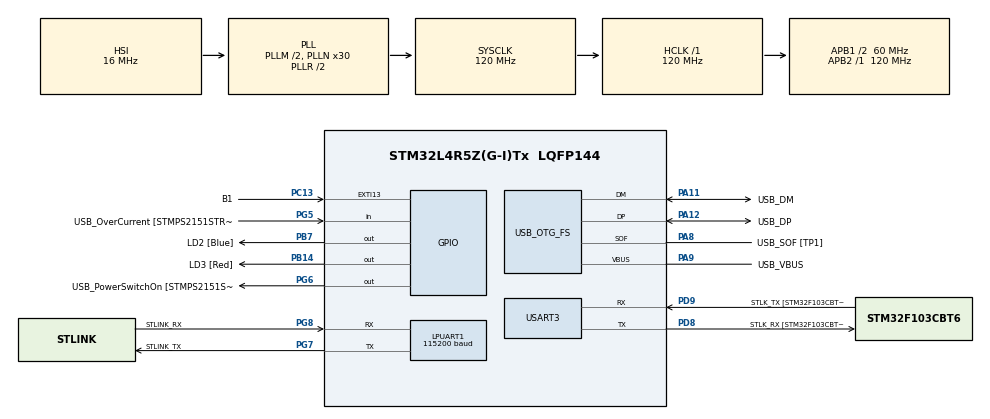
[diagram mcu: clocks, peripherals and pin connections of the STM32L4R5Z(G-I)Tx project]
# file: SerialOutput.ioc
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Dma.LPUART1_RX.0.Direction=DMA_PERIPH_TO_MEMORY
Dma.LPUART1_RX.0.EventEnable=DISABLE
Dma.LPUART1_RX.0.Instance=DMA1_Channel1
Dma.LPUART1_RX.0.MemDataAlignment=DMA_MDATAALIGN_BYTE
Dma.LPUART1_RX.0.MemInc=DMA_MINC_ENABLE
Dma.LPUART1_RX.0.Mode=DMA_NORMAL
Dma.LPUART1_RX.0.PeriphDataAlignment=DMA_PDATAALIGN_BYTE
Dma.LPUART1_RX.0.PeriphInc=DMA_PINC_DISABLE
Dma.LPUART1_RX.0.Polarity=HAL_DMAMUX_REQUEST_GEN_RISING
Dma.LPUART1_RX.0.Priority=DMA_PRIORITY_LOW
Dma.LPUART1_RX.0.RequestNumber=1
Dma.LPUART1_RX.0.SignalID=NONE
Dma.LPUART1_RX.0.SyncEnable=DISABLE
Dma.LPUART1_RX.0.SyncPolarity=HAL_DMAMUX_SYNC_NO_EVENT
Dma.LPUART1_RX.0.SyncRequestNumber=1
Dma.LPUART1_RX.0.SyncSignalID=NONE
Dma.Request0=LPUART1_RX
LPUART1.BaudRate=115200
LPUART1.WordLength=UART_WORDLENGTH_8B
Mcu.Family=STM32L4
Mcu.Name=STM32L4R5Z(G-I)Tx
Mcu.Package=LQFP144
NVIC.DMA1_Channel1_IRQn=true\:0\:0\:false\:false\:true\:false\:true\:true
NVIC.PriorityGroup=NVIC_PRIORITYGROUP_4
PA10.GPIO_Label=USB_ID
PA10.Signal=USB_OTG_FS_ID
PA11.GPIO_Label=USB_DM
PA11.Mode=Device_Only
PA11.Signal=USB_OTG_FS_DM
PA12.GPIO_Label=USB_DP
PA12.Mode=Device_Only
PA12.Signal=USB_OTG_FS_DP
PA13\ (JTMS/SWDIO).GPIO_Label=TMS
PA13\ (JTMS/SWDIO).Mode=Trace_Asynchronous_SW
PA13\ (JTMS/SWDIO).Signal=SYS_JTMS-SWDIO
PA14\ (JTCK/SWCLK).GPIO_Label=TCK
PA14\ (JTCK/SWCLK).Mode=Trace_Asynchronous_SW
PA14\ (JTCK/SWCLK).Signal=SYS_JTCK-SWCLK
PA8.GPIO_Label=USB_SOF [TP1]
PA8.Mode=Activate_SOF_FS
PA8.Signal=USB_OTG_FS_SOF
PA9.GPIO_Label=USB_VBUS
PA9.Mode=Activate_VBUS
PA9.Signal=USB_OTG_FS_VBUS
PB14.GPIO_Label=LD3 [Red]
PB14.Signal=GPIO_Output
PB3\ (JTDO/TRACESWO).GPIO_Label=SWO
PB3\ (JTDO/TRACESWO).Mode=Trace_Asynchronous_SW
PB3\ (JTDO/TRACESWO).Signal=SYS_JTDO-SWO
PB7.GPIO_Label=LD2 [Blue]
PB7.Signal=GPIO_Output
PC13.GPIO_Label=B1
PC13.Signal=GPXTI13
PC14-OSC32_IN\ (PC14).Mode=LSE-External-Oscillator
PC14-OSC32_IN\ (PC14).Signal=RCC_OSC32_IN
PC15-OSC32_OUT\ (PC15).Mode=LSE-External-Oscillator
PC15-OSC32_OUT\ (PC15).Signal=RCC_OSC32_OUT
PD8.GPIO_Label=STLK_RX [STM32F103CBT6_PA3]
PD8.Mode=Asynchronous
PD8.Signal=USART3_TX
PD9.GPIO_Label=STLK_TX [STM32F103CBT6_PA2]
PD9.Mode=Asynchronous
PD9.Signal=USART3_RX
PG5.GPIO_Label=USB_OverCurrent [STMPS2151STR_FAULT]
PG5.Signal=GPIO_Input
PG6.GPIO_Label=USB_PowerSwitchOn [STMPS2151STR_EN]
PG6.Signal=GPIO_Output
PG7.GPIO_Label=STLINK_TX
PG7.Mode=Asynchronous
PG7.Signal=LPUART1_TX
PG8.GPIO_Label=STLINK_RX
PG8.Mode=Asynchronous
PG8.Signal=LPUART1_RX
PH0-OSC_IN\ (PH0).Signal=RCC_OSC_IN
PH1-OSC_OUT\ (PH1).Signal=RCC_OSC_OUT
ProjectManager.HeapSize=0x200
ProjectManager.StackSize=0x400
ProjectManager.TargetToolchain=STM32CubeIDE
RCC.48MHZClocksFreq_Value=24000000
RCC.ADCFreq_Value=96000000
RCC.AHBFreq_Value=120000000
RCC.APB1CLKDivider=RCC_HCLK_DIV2
RCC.APB1Freq_Value=60000000
RCC.APB1TimFreq_Value=120000000
RCC.APB2Freq_Value=120000000
RCC.APB2TimFreq_Value=120000000
RCC.CK48CLockSelection=RCC_USBCLKSOURCE_HSI48
RCC.CortexFreq_Value=120000000
RCC.HCLKFreq_Value=120000000
RCC.HSE_VALUE=8000000
RCC.HSI48_VALUE=48000000
RCC.HSI_VALUE=16000000
RCC.MSI_VALUE=4000000
RCC.PLLM1=2
RCC.PLLMUL=RCC_PLL_MUL9
RCC.PLLN=30
RCC.PLLSAI1N=12
RCC.PLLSourceVirtual=RCC_PLLSOURCE_HSI
RCC.PRESCALERUSB=RCC_USBCLKSOURCE_PLL_DIV1_5
RCC.SYSCLKFreq_VALUE=120000000
RCC.SYSCLKSource=RCC_SYSCLKSOURCE_PLLCLK
RCC.SYSCLKSourceVirtual=RCC_SYSCLKSOURCE_PLLCLK
RCC.USBFreq_Value=48000000
RCC.VCOOutputFreq_Value=240000000
USART3.VirtualMode-Asynchronous=VM_ASYNC
USB_OTG_FS.VirtualMode=Device_Only
board=NUCLEO-L4R5ZI

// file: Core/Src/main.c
/* USER CODE BEGIN Header */
/**
  ******************************************************************************
  * @file           : main.c
  * @brief          : Main program body
  ******************************************************************************
  * @attention
  *
  * Copyright (c) 2023 STMicroelectronics.
  * All rights reserved.
  *
  * This software is licensed under terms that can be found in the LICENSE file
  * in the root directory of this software component.
  * If no LICENSE file comes with this software, it is provided AS-IS.
  *
  ******************************************************************************
  */
/* USER CODE END Header */
#include "main.h"

/* USER CODE BEGIN Includes */
#include <stdio.h>

/* USER CODE END Includes */

UART_HandleTypeDef hlpuart1;
UART_HandleTypeDef huart3;

PCD_HandleTypeDef hpcd_USB_OTG_FS;

void SystemClock_Config(void);
static void MX_GPIO_Init(void);
static void MX_LPUART1_UART_Init(void);
static void MX_USART3_UART_Init(void);
static void MX_USB_OTG_FS_PCD_Init(void);
/* USER CODE BEGIN PFP */
#ifdef __GNUC__
#define PUTCHAR_PROTOTYPE int __io_putchar(int ch)
#else
#define PUTCHAR_PROTOTYPE int fputc(int ch, FILE *f)
#endif

PUTCHAR_PROTOTYPE
{
  HAL_UART_Transmit(&hlpuart1, (uint8_t *)&ch, 1, HAL_MAX_DELAY);
  return ch;
}

/* USER CODE END PFP */

/* USER CODE BEGIN 0 */

// Initialise byte array
uint8_t uartBuffer[12] = {0};

/* USER CODE END 0 */

int main(void)
{

  /* MCU Configuration--------------------------------------------------------*/

  /* Reset of all peripherals, Initializes the Flash interface and the Systick. */
  HAL_Init();

  /* Configure the system clock */
  SystemClock_Config();

  /* Initialize all configured peripherals */
  MX_GPIO_Init();
  MX_LPUART1_UART_Init();
  MX_USART3_UART_Init();
  MX_USB_OTG_FS_PCD_Init();

  /* Infinite loop */
  while (1)
  {

    /* USER CODE BEGIN 3 */

	  // Using HAL to output directly
	  char data[] = "Hello World!!!\r\n";
	  HAL_UART_Transmit(&hlpuart1, data, sizeof(data), 100);
	  HAL_Delay(1000);

	  // Using printf to output (preferred)
	  const char* name = "Jack";
	  printf("Your name is: %s\r\n", name);

  }
  /* USER CODE END 3 */
}

void SystemClock_Config(void)
{
  RCC_OscInitTypeDef RCC_OscInitStruct = {0};
  RCC_ClkInitTypeDef RCC_ClkInitStruct = {0};

  /** Configure the main internal regulator output voltage
  */
  if (HAL_PWREx_ControlVoltageScaling(PWR_REGULATOR_VOLTAGE_SCALE1_BOOST) != HAL_OK)
  {
    Error_Handler();
  }

  /** Initializes the RCC Oscillators according to the specified parameters
  * in the RCC_OscInitTypeDef structure.
  */
  RCC_OscInitStruct.OscillatorType = RCC_OSCILLATORTYPE_HSI48|RCC_OSCILLATORTYPE_HSI;
  RCC_OscInitStruct.HSIState = RCC_HSI_ON;
  RCC_OscInitStruct.HSI48State = RCC_HSI48_ON;
  RCC_OscInitStruct.HSICalibrationValue = RCC_HSICALIBRATION_DEFAULT;
  RCC_OscInitStruct.PLL.PLLState = RCC_PLL_ON;
  RCC_OscInitStruct.PLL.PLLSource = RCC_PLLSOURCE_HSI;
  RCC_OscInitStruct.PLL.PLLM = 2;
  RCC_OscInitStruct.PLL.PLLN = 30;
  RCC_OscInitStruct.PLL.PLLP = RCC_PLLP_DIV2;
  RCC_OscInitStruct.PLL.PLLQ = RCC_PLLQ_DIV2;
  RCC_OscInitStruct.PLL.PLLR = RCC_PLLR_DIV2;
  if (HAL_RCC_OscConfig(&RCC_OscInitStruct) != HAL_OK)
  {
    Error_Handler();
  }

  /** Initializes the CPU, AHB and APB buses clocks
  */
  RCC_ClkInitStruct.ClockType = RCC_CLOCKTYPE_HCLK|RCC_CLOCKTYPE_SYSCLK
                              |RCC_CLOCKTYPE_PCLK1|RCC_CLOCKTYPE_PCLK2;
  RCC_ClkInitStruct.SYSCLKSource = RCC_SYSCLKSOURCE_PLLCLK;
  RCC_ClkInitStruct.AHBCLKDivider = RCC_SYSCLK_DIV1;
  RCC_ClkInitStruct.APB1CLKDivider = RCC_HCLK_DIV2;
  RCC_ClkInitStruct.APB2CLKDivider = RCC_HCLK_DIV1;

  if (HAL_RCC_ClockConfig(&RCC_ClkInitStruct, FLASH_LATENCY_5) != HAL_OK)
  {
    Error_Handler();
  }
}

static void MX_LPUART1_UART_Init(void)
{

  hlpuart1.Instance = LPUART1;
  hlpuart1.Init.BaudRate = 115200;
  hlpuart1.Init.WordLength = UART_WORDLENGTH_8B;
  hlpuart1.Init.StopBits = UART_STOPBITS_1;
  hlpuart1.Init.Parity = UART_PARITY_NONE;
  hlpuart1.Init.Mode = UART_MODE_TX_RX;
  hlpuart1.Init.HwFlowCtl = UART_HWCONTROL_NONE;
  hlpuart1.Init.OneBitSampling = UART_ONE_BIT_SAMPLE_DISABLE;
  hlpuart1.Init.ClockPrescaler = UART_PRESCALER_DIV1;
  hlpuart1.AdvancedInit.AdvFeatureInit = UART_ADVFEATURE_NO_INIT;
  hlpuart1.FifoMode = UART_FIFOMODE_DISABLE;
  if (HAL_UART_Init(&hlpuart1) != HAL_OK)
  {
    Error_Handler();
  }
  if (HAL_UARTEx_SetTxFifoThreshold(&hlpuart1, UART_TXFIFO_THRESHOLD_1_8) != HAL_OK)
  {
    Error_Handler();
  }
  if (HAL_UARTEx_SetRxFifoThreshold(&hlpuart1, UART_RXFIFO_THRESHOLD_1_8) != HAL_OK)
  {
    Error_Handler();
  }
  if (HAL_UARTEx_DisableFifoMode(&hlpuart1) != HAL_OK)
  {
    Error_Handler();
  }

}

static void MX_USART3_UART_Init(void)
{

  huart3.Instance = USART3;
  huart3.Init.BaudRate = 115200;
  huart3.Init.WordLength = UART_WORDLENGTH_8B;
  huart3.Init.StopBits = UART_STOPBITS_1;
  huart3.Init.Parity = UART_PARITY_NONE;
  huart3.Init.Mode = UART_MODE_TX_RX;
  huart3.Init.HwFlowCtl = UART_HWCONTROL_NONE;
  huart3.Init.OverSampling = UART_OVERSAMPLING_16;
  huart3.Init.OneBitSampling = UART_ONE_BIT_SAMPLE_DISABLE;
  huart3.Init.ClockPrescaler = UART_PRESCALER_DIV1;
  huart3.AdvancedInit.AdvFeatureInit = UART_ADVFEATURE_NO_INIT;
  if (HAL_UART_Init(&huart3) != HAL_OK)
  {
    Error_Handler();
  }
  if (HAL_UARTEx_SetTxFifoThreshold(&huart3, UART_TXFIFO_THRESHOLD_1_8) != HAL_OK)
  {
    Error_Handler();
  }
  if (HAL_UARTEx_SetRxFifoThreshold(&huart3, UART_RXFIFO_THRESHOLD_1_8) != HAL_OK)
  {
    Error_Handler();
  }
  if (HAL_UARTEx_DisableFifoMode(&huart3) != HAL_OK)
  {
    Error_Handler();
  }

}

static void MX_USB_OTG_FS_PCD_Init(void)
{

  hpcd_USB_OTG_FS.Instance = USB_OTG_FS;
  hpcd_USB_OTG_FS.Init.dev_endpoints = 6;
  hpcd_USB_OTG_FS.Init.phy_itface = PCD_PHY_EMBEDDED;
  hpcd_USB_OTG_FS.Init.Sof_enable = ENABLE;
  hpcd_USB_OTG_FS.Init.low_power_enable = DISABLE;
  hpcd_USB_OTG_FS.Init.lpm_enable = DISABLE;
  hpcd_USB_OTG_FS.Init.battery_charging_enable = ENABLE;
  hpcd_USB_OTG_FS.Init.use_dedicated_ep1 = DISABLE;
  hpcd_USB_OTG_FS.Init.vbus_sensing_enable = ENABLE;
  if (HAL_PCD_Init(&hpcd_USB_OTG_FS) != HAL_OK)
  {
    Error_Handler();
  }

}

static void MX_GPIO_Init(void)
{
  GPIO_InitTypeDef GPIO_InitStruct = {0};

  /* GPIO Ports Clock Enable */
  __HAL_RCC_GPIOC_CLK_ENABLE();
  __HAL_RCC_GPIOH_CLK_ENABLE();
  __HAL_RCC_GPIOB_CLK_ENABLE();
  __HAL_RCC_GPIOD_CLK_ENABLE();
  __HAL_RCC_GPIOG_CLK_ENABLE();
  HAL_PWREx_EnableVddIO2();
  __HAL_RCC_GPIOA_CLK_ENABLE();

  /*Configure GPIO pin Output Level */
  HAL_GPIO_WritePin(GPIOB, LD3_Pin|LD2_Pin, GPIO_PIN_RESET);

  /*Configure GPIO pin Output Level */
  HAL_GPIO_WritePin(USB_PowerSwitchOn_GPIO_Port, USB_PowerSwitchOn_Pin, GPIO_PIN_RESET);

  /*Configure GPIO pin : B1_Pin */
  GPIO_InitStruct.Pin = B1_Pin;
  GPIO_InitStruct.Mode = GPIO_MODE_IT_RISING;
  GPIO_InitStruct.Pull = GPIO_NOPULL;
  HAL_GPIO_Init(B1_GPIO_Port, &GPIO_InitStruct);

  /*Configure GPIO pins : LD3_Pin LD2_Pin */
  GPIO_InitStruct.Pin = LD3_Pin|LD2_Pin;
  GPIO_InitStruct.Mode = GPIO_MODE_OUTPUT_PP;
  GPIO_InitStruct.Pull = GPIO_NOPULL;
  GPIO_InitStruct.Speed = GPIO_SPEED_FREQ_LOW;
  HAL_GPIO_Init(GPIOB, &GPIO_InitStruct);

  /*Configure GPIO pin : USB_OverCurrent_Pin */
  GPIO_InitStruct.Pin = USB_OverCurrent_Pin;
  GPIO_InitStruct.Mode = GPIO_MODE_INPUT;
  GPIO_InitStruct.Pull = GPIO_NOPULL;
  HAL_GPIO_Init(USB_OverCurrent_GPIO_Port, &GPIO_InitStruct);

  /*Configure GPIO pin : USB_PowerSwitchOn_Pin */
  GPIO_InitStruct.Pin = USB_PowerSwitchOn_Pin;
  GPIO_InitStruct.Mode = GPIO_MODE_OUTPUT_PP;
  GPIO_InitStruct.Pull = GPIO_NOPULL;
  GPIO_InitStruct.Speed = GPIO_SPEED_FREQ_LOW;
  HAL_GPIO_Init(USB_PowerSwitchOn_GPIO_Port, &GPIO_InitStruct);

}

void Error_Handler(void)
{
  __disable_irq();
  while (1)
  {
  }
}
